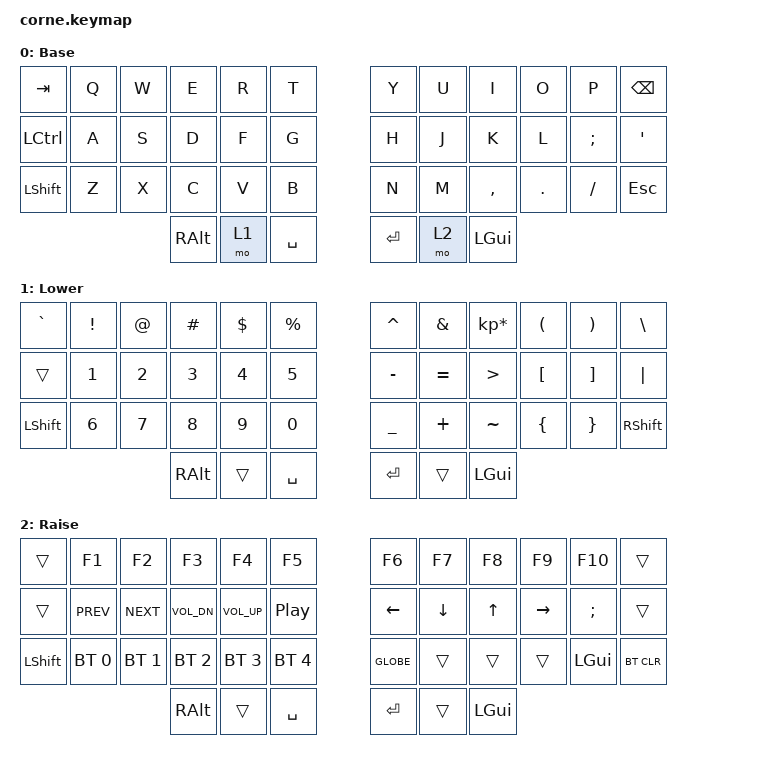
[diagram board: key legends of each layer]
/*
 * Copyright (c) 2020 The ZMK Contributors
 *
 * SPDX-License-Identifier: MIT
 */

#include <behaviors.dtsi>
#include <dt-bindings/zmk/keys.h>
#include <dt-bindings/zmk/bt.h>

/ {
        keymap {
                compatible = "zmk,keymap";

                default_layer {
// -----------------------------------------------------------------------------------------
// |  TAB |  Q  |  W  |  E  |  R  |  T  |   |  Y  |  U   |  I  |  O  |  P  | BKSP |
// | CTRL |  A  |  S  |  D  |  F  |  G  |   |  H  |  J   |  K  |  L  |  ;  |  '   |
// | SHFT |  Z  |  X  |  C  |  V  |  B  |   |  N  |  M   |  ,  |  .  |  /  | ESC  |
//                    | ALT | LWR | SPC |   | ENT | RSE  | GUI |
                        label = "Base";
                        bindings = <
   &kp TAB   &kp Q &kp W &kp E &kp R &kp T   &kp Y &kp U  &kp I     &kp O   &kp P    &kp BSPC
   &kp LCTRL &kp A &kp S &kp D &kp F &kp G   &kp H &kp J  &kp K     &kp L   &kp SEMI &kp SQT
   &kp LSHFT &kp Z &kp X &kp C &kp V &kp B   &kp N &kp M  &kp COMMA &kp DOT &kp FSLH &kp ESC
                  &kp RALT &mo 1 &kp SPACE   &kp RET &mo 2 &kp LGUI
                        >;
                };
                lower_layer {
// -----------------------------------------------------------------------------------------
// |   `  |  !  |  @  |  #  |  $  |    %     |   |  ^  |  &  |  *  |  (  |  )  |   \   |
// |      |  1  |  2  |  3  |  4  |    5     |   |  -  |  =  |  >  |  [  |  ]  |  "|"  |
// | SHFT |  6  |  7  |  8  |  9  |    0     |   |  _  |  +  |  ~  |  {  |  }  | RSHFT |
//                    | ALT |     | SPC |        | ENT |     | GUI |
                        label = "Lower";
                        bindings = <
   &kp GRAVE    &kp EXCL &kp AT &kp HASH &kp DLLR &kp PRCNT   &kp CARET  &kp AMPS  &kp KP_MULTIPLY &kp LPAR &kp RPAR &kp BSLH
   &trans    &kp N1   &kp N2 &kp N3   &kp N4   &kp N5      &kp MINUS  &kp EQUAL &kp GT       &kp LBKT &kp RBKT &kp PIPE
   &kp LSHFT &kp N6   &kp N7 &kp N8   &kp N9   &kp N0      &kp UNDER  &kp PLUS  &kp TILDE       &kp LBRC &kp RBRC &kp RSHFT
                          	        &kp RALT     &trans       &kp SPACE      &kp RET  &trans   &kp LGUI
                        >;
                };

                raise_layer {
// -----------------------------------------------------------------------------------------
// |       |  F1  |  F2  |   F3  |  F4   |     F5     |   |  F6   |  F7  |  F8  |  F9  |  F10  |        |
// |       | Prev | Next | Vol - | Vol + | Play/Pause |   |  LFT  | DWN  |  UP  |  RGT |   ;   |        |
// | SHFT  |  BT1 | BT2  |  BT3  |  BT4  |    BT5     |   | GLOBE |      |      |      |  GUI  | BT CLR |
//                    | ALT |     | SPC |                 | ENT |     | GUI |
                        label = "Raise";
                        bindings = <
   &trans     &kp F1        &kp F2       &kp F3       &kp F4       &kp F5          &kp F6   &kp F7   &kp F8 &kp F9    &kp F10 &trans
   &trans     &kp C_PREV    &kp C_NEXT   &kp C_VOL_DN &kp C_VOL_UP &kp C_PP        &kp LEFT &kp DOWN &kp UP &kp RIGHT &kp SEMI &trans
   &kp LSHFT &bt BT_SEL 0  &bt BT_SEL 1 &bt BT_SEL 2 &bt BT_SEL 3 &bt BT_SEL 4    &kp GLOBE   &trans   &trans &trans    &kp LGUI &bt BT_CLR
                    	     &kp RALT &trans   &kp SPACE   &kp RET   &trans    &kp LGUI
                        >;
                };
        };
};
